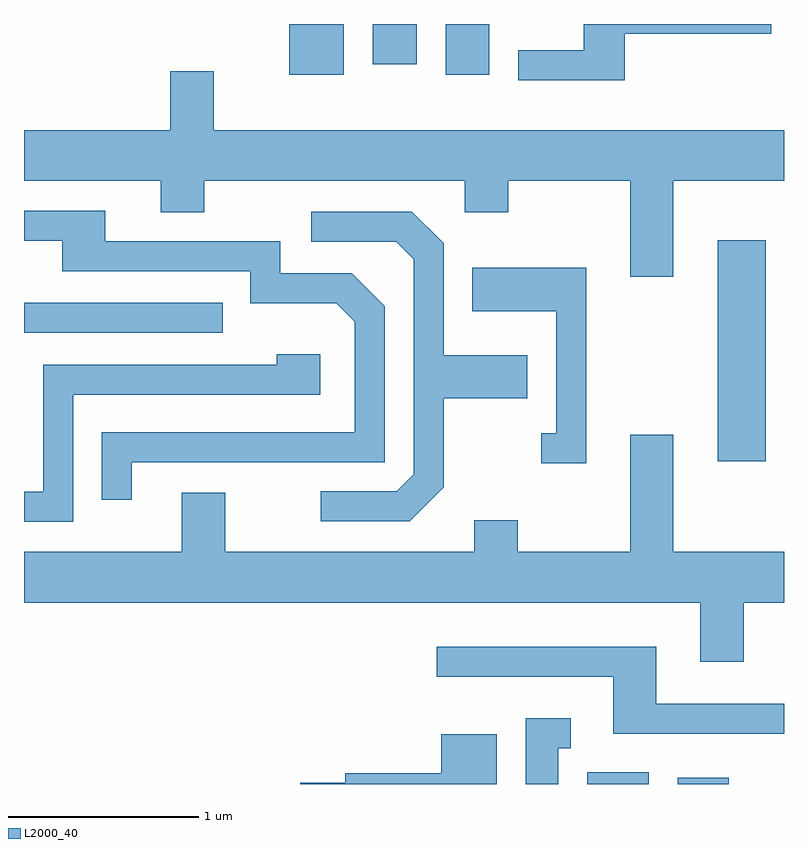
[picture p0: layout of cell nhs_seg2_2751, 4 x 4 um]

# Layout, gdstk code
import gdstk
lib = gdstk.Library(unit=1e-6, precision=1e-09)
def R(c, l, rs):  # rectangles x0, y0, x1, y1
    for r in rs: c.add(gdstk.rectangle(r[:2], r[2:], *l))
def P(c, l, *ps):  # polygons
    for p in ps: c.add(gdstk.Polygon(p, *l))
L2000_40 = (2000, 40)

nhs_seg2_2751 = lib.new_cell('nhs_seg2_2751')
R(nhs_seg2_2751, L2000_40, [(268.576,1051.802,268.899,1051.864), (269.051,1051.802,269.319,1051.834), (269.261,1053.501,269.514,1054.664), (265.611,1054.176,266.658,1054.334), (267.006,1055.536,267.294,1055.802), (267.831,1055.536,268.059,1055.802), (267.446,1055.591,267.679,1055.802)])
P(nhs_seg2_2751, L2000_40, [(268.774,1055.751),(269.544,1055.751),(269.544,1055.802),(268.556,1055.802),(268.556,1055.664),(268.213,1055.664),(268.213,1055.506),(268.774,1055.506)],
  [(269.029,1054.976),(269.611,1054.976),(269.611,1055.244),(266.609,1055.244),(266.609,1055.554),(266.381,1055.554),(266.381,1055.244),(265.611,1055.244),(265.611,1054.976),(266.331,1054.976),(266.331,1054.811),(266.559,1054.811),(266.559,1054.976),(267.931,1054.976),(267.931,1054.811),(268.159,1054.811),(268.159,1054.976),(268.801,1054.976),(268.801,1054.471),(269.029,1054.471)],
  [(266.179,1053.496),(267.509,1053.496),(267.509,1054.317),(267.337,1054.489),(266.959,1054.489),(266.959,1054.659),(266.039,1054.659),(266.039,1054.819),(265.611,1054.819),(265.611,1054.661),(265.811,1054.661),(265.811,1054.501),(266.801,1054.501),(266.801,1054.331),(267.254,1054.331),(267.351,1054.234),(267.351,1053.654),(266.021,1053.654),(266.021,1053.298),(266.179,1053.298)],
  [(267.819,1053.364),(267.819,1053.831),(268.259,1053.831),(268.259,1054.059),(267.819,1054.059),(267.819,1054.647),(267.652,1054.814),(267.123,1054.814),(267.123,1054.656),(267.569,1054.656),(267.661,1054.564),(267.661,1053.432),(267.574,1053.344),(267.173,1053.344),(267.173,1053.186),(267.642,1053.186)],
  [(268.569,1054.519),(267.971,1054.519),(267.971,1054.291),(268.411,1054.291),(268.411,1053.649),(268.333,1053.649),(268.333,1053.491),(268.569,1053.491)],
  [(265.869,1053.851),(267.169,1053.851),(267.169,1054.064),(266.941,1054.064),(266.941,1054.009),(265.711,1054.009),(265.711,1053.339),(265.611,1053.339),(265.611,1053.181),(265.869,1053.181)],
  [(269.399,1052.756),(269.611,1052.756),(269.611,1053.024),(269.029,1053.024),(269.029,1053.639),(268.801,1053.639),(268.801,1053.024),(268.209,1053.024),(268.209,1053.189),(267.981,1053.189),(267.981,1053.024),(266.669,1053.024),(266.669,1053.334),(266.441,1053.334),(266.441,1053.024),(265.611,1053.024),(265.611,1052.756),(269.171,1052.756),(269.171,1052.446),(269.399,1052.446)],
  [(269.611,1052.224),(268.939,1052.224),(268.939,1052.524),(267.783,1052.524),(267.783,1052.366),(268.711,1052.366),(268.711,1052.066),(269.611,1052.066)],
  [(268.424,1051.991),(268.488,1051.991),(268.488,1052.149),(268.251,1052.149),(268.251,1051.802),(268.424,1051.802)],
  [(268.099,1052.064),(267.806,1052.064),(267.806,1051.859),(267.301,1051.859),(267.301,1051.809),(267.066,1051.809),(267.066,1051.802),(268.099,1051.802)])

lib.write_gds('nhs_seg2_2751.gds')
